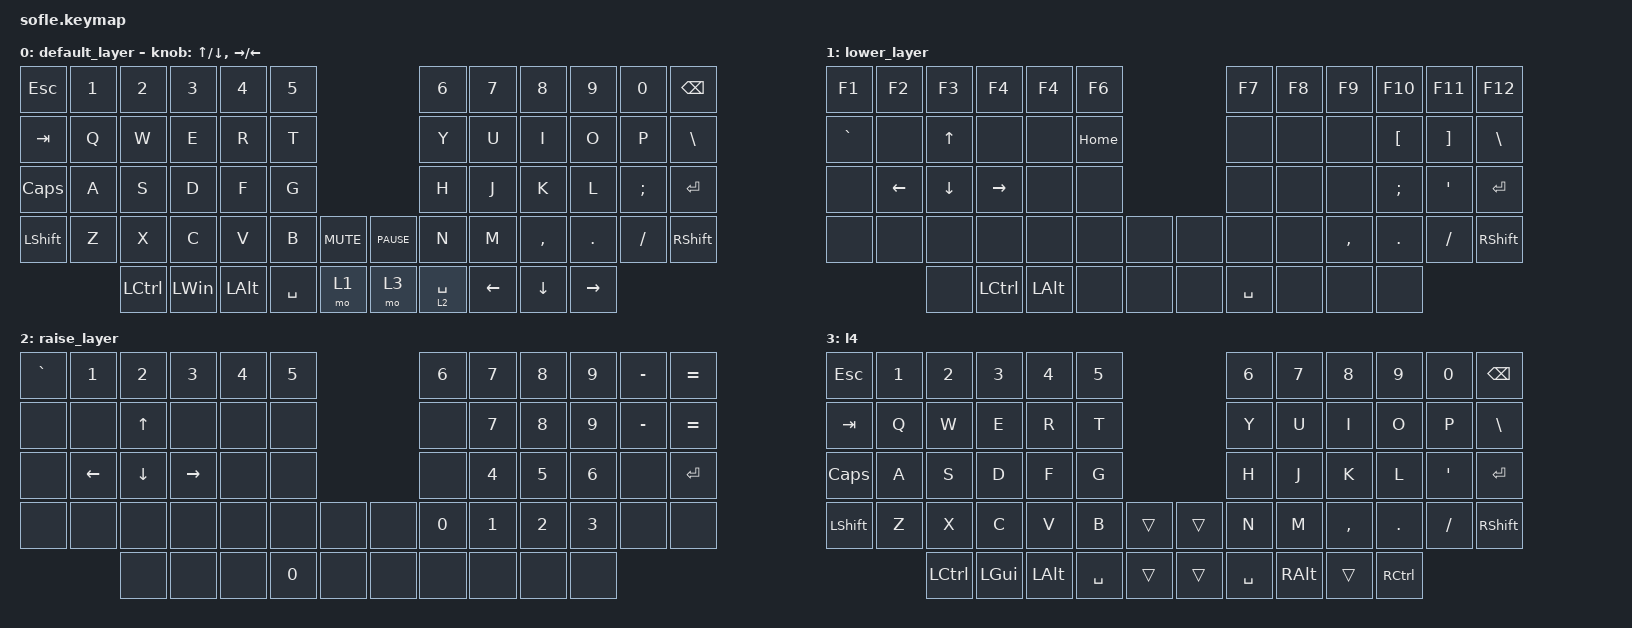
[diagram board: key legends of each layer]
/*
 * Copyright (c) 2020 The ZMK Contributors
 *
 * SPDX-License-Identifier: MIT
 */

#include <behaviors.dtsi>
#include <dt-bindings/zmk/keys.h>

#define BASE 0
#define LOWER 1
#define RAISE 2
#define ADJUST 3

/ {
    // Activate ADJUST layer by pressing raise and lower

    conditional_layers { compatible = "zmk,conditional-layers"; };

    keymap {
        compatible = "zmk,keymap";

        default_layer {
            // ------------------------------------------------------------------------------------------------------------
            // |  `    |  1  |  2  |  3   |  4   |  5   |                   |  6   |  7    |  8    |  9   |   0   |       |
            // |  ESC  |  Q  |  W  |  E   |  R   |  T   |                   |  Y   |  U    |  I    |  O   |   P   | BKSPC |
            // |  TAB  |  A  |  S  |  D   |  F   |  G   |                   |  H   |  J    |  K    |  L   |   ;   |   '   |
            // | SHIFT |  Z  |  X  |  C   |  V   |  B   |  MUTE  |  |       |  N   |  M    |  ,    |  .   |   /   | SHIFT |
            //               | GUI | ALT  | CTRL | LOWER|  ENTER |  | SPACE | RAISE| CTRL  | ALT   | GUI  |

            bindings = <
&kp ESCAPE    &kp N1  &kp N2     &kp N3        &kp N4        &kp N5                              &kp N6       &kp N7          &kp N8     &kp N9     &kp N0    &kp BACKSPACE
&kp TAB       &kp Q   &kp W      &kp E         &kp R         &kp T                               &kp Y        &kp U           &kp I      &kp O      &kp P     &kp BACKSLASH
&kp CAPSLOCK  &kp A   &kp S      &kp D         &kp F         &kp G                               &kp H        &kp J           &kp K      &kp L      &kp SEMI  &kp ENTER
&kp LSHFT     &kp Z   &kp X      &kp C         &kp V         &kp B      &kp C_MUTE  &kp C_PAUSE  &kp N        &kp M           &kp COMMA  &kp DOT    &kp FSLH  &kp RSHFT
                      &kp LCTRL  &kp LEFT_WIN  &kp LEFT_ALT  &kp SPACE  &mo 1       &mo 3        &lt 2 SPACE  &kp LEFT_ARROW  &kp DOWN   &kp RIGHT
            >;

            sensor-bindings = <&inc_dec_kp UP DOWN>, <&inc_dec_kp RIGHT LEFT>;
        };

        lower_layer {
            // TODO: Some binds are waiting for shifted keycode support.
            // ------------------------------------------------------------------------------------------------------------
            // |       |  F1 |  F2 |  F3  |  F4  |  F5  |                   |  F6  |  F7   |  F8   |  F9  |  F10  |  F11  |
            // | `     |   1 |   2 |   3  |   4  |   5  |                   |   6  |   7   |   8   |   9  |    0  |  F12  |
            // |       |  !  |  @  |  #   |  $   |  %   |                   |  ^   |  &    |  *    |  (   |   )   |   |   |
            // |       |  =  |  -  |  +   |  {   |  }   |        |  |       |  [   |  ]    |  ;    |  :   |   \   |       |
            //               |     |      |      |      |        |  |       |      |       |       |      |

            bindings = <
&kp F1     &kp F2          &kp F3          &kp F4     &kp F4        &kp F6                  &kp F7     &kp F8  &kp F9     &kp F10           &kp F11            &kp F12
&kp GRAVE  &none           &kp UP_ARROW    &none      &none         &kp HOME                &none      &none   &none      &kp LEFT_BRACKET  &kp RIGHT_BRACKET  &kp BACKSLASH
&none      &kp LEFT_ARROW  &kp DOWN_ARROW  &kp RIGHT  &none         &none                   &none      &none   &none      &kp SEMICOLON     &kp SQT            &kp ENTER
&none      &none           &none           &none      &none         &none     &none  &none  &none      &none   &kp COMMA  &kp PERIOD        &kp SLASH          &kp RIGHT_SHIFT
                           &none           &kp LCTRL  &kp LEFT_ALT  &none     &none  &none  &kp SPACE  &none   &none      &none
            >;
        };

        raise_layer {
            // ------------------------------------------------------------------------------------------------------------
            // |BTCLR| BT1  | BT2  |  BT3  |  BT4  |  BT5 |                |      |      |       |      |       |       |
            // |     | INS  | PSCR | GUI   |       |      |                | PGUP |      |   ^   |      |       |       |
            // |     | ALT  | CTRL | SHIFT |       | CAPS |                | PGDN |   <- |   v   |  ->  |  DEL  | BKSPC |
            // |     | UNDO | CUT  | COPY  | PASTE |      |      |  |      |      |      |       |      |       |       |
            //              |      |       |       |      |      |  |      |      |      |       |      |

            bindings = <
&kp GRAVE  &kp NUMBER_1    &kp NUMBER_2  &kp NUMBER_3  &kp NUMBER_4  &kp N5                &kp NUMBER_6  &kp N7        &kp N8        &kp N9        &kp MINUS  &kp EQUAL
&none      &none           &kp UP_ARROW  &none         &none         &none                 &none         &kp N7        &kp N8        &kp N9        &kp MINUS  &kp EQUAL
&none      &kp LEFT_ARROW  &kp DOWN      &kp RIGHT     &none         &none                 &none         &kp NUMBER_4  &kp N5        &kp NUMBER_6  &none      &kp ENTER
&none      &none           &none         &none         &none         &none   &none  &none  &kp N0        &kp NUMBER_1  &kp NUMBER_2  &kp NUMBER_3  &none      &none
                           &none         &none         &none         &kp N0  &none  &none  &none         &none         &none         &none
            >;
        };

        // ------------------------------------------------------------------------------------------------------------
        // |BTCLR | BT1   | BT2   |  BT3  |  BT4  |  BT5  |                |      |      |       |      |       |       |
        // |EXTPWR|RGB_HUD|RGB_HUI|RGB_SAD|RGB_SAI|RGB_EFF|                |      |      |       |      |       |       |
        // |      |RGB_BRD|RGB_BRI|       |       |       |                |      |      |       |      |       |       |
        // |      |       |       |       |       |       |RGB_TOG| |      |      |      |       |      |       |       |
        //                |       |       |       |       |       | |      |      |      |       |      |

        l4 {
            bindings = <
&kp ESC    &kp N1  &kp N2     &kp N3    &kp N4    &kp N5                     &kp N6     &kp N7    &kp N8     &kp N9     &kp N0    &kp BSPC
&kp TAB    &kp Q   &kp W      &kp E     &kp R     &kp T                      &kp Y      &kp U     &kp I      &kp O      &kp P     &kp BSLH
&kp CAPS   &kp A   &kp S      &kp D     &kp F     &kp G                      &kp H      &kp J     &kp K      &kp L      &kp SQT   &kp RET
&kp LSHFT  &kp Z   &kp X      &kp C     &kp V     &kp B      &trans  &trans  &kp N      &kp M     &kp COMMA  &kp DOT    &kp FSLH  &kp RSHFT
                   &kp LCTRL  &kp LGUI  &kp LALT  &kp SPACE  &trans  &trans  &kp SPACE  &kp RALT  &trans     &kp RCTRL
            >;
        };
    };
};
